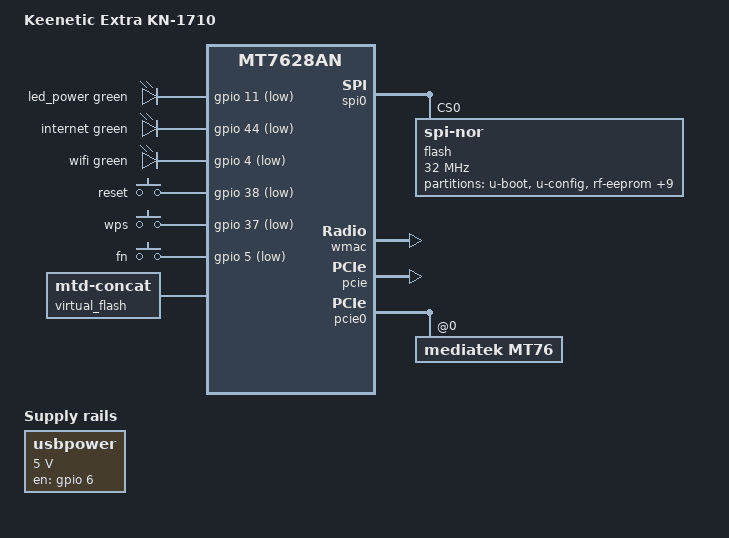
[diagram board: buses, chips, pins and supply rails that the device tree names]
// SPDX-License-Identifier: GPL-2.0-or-later OR MIT
#include "mt7628an.dtsi"

#include <dt-bindings/gpio/gpio.h>
#include <dt-bindings/input/input.h>
#include <dt-bindings/leds/common.h>

/ {
	compatible = "keenetic,kn-1710", "mediatek,mt7628an-soc";
	model = "Keenetic Extra KN-1710";

	aliases {
		led-boot = &led_power;
		led-failsafe = &led_power;
		led-running = &led_power;
		led-upgrade = &led_power;
	};

	chosen {
		bootargs = "console=ttyS0,57600n8";
	};

	regulator-usb {
		compatible = "regulator-fixed";
		regulator-name = "usbpower";
		regulator-min-microvolt = <5000000>;
		regulator-max-microvolt = <5000000>;
		gpios = <&gpio 6 GPIO_ACTIVE_HIGH>;
		enable-active-high;
		regulator-always-on;
	};

	leds {
		compatible = "gpio-leds";

		led_power: power {
			function = LED_FUNCTION_POWER;
			color = <LED_COLOR_ID_GREEN>;
			gpios = <&gpio 11 GPIO_ACTIVE_LOW>;
		};

		internet {
			function = LED_FUNCTION_WAN;
			color = <LED_COLOR_ID_GREEN>;
			gpios = <&gpio 44 GPIO_ACTIVE_LOW>;
		};

		wifi {
			function = LED_FUNCTION_WLAN;
			color = <LED_COLOR_ID_GREEN>;
			gpios = <&gpio 4 GPIO_ACTIVE_LOW>;
		};
	};

	keys {
		compatible = "gpio-keys";

		reset {
			label = "reset";
			gpios = <&gpio 38 GPIO_ACTIVE_LOW>;
			linux,code = <KEY_RESTART>;
		};

		wps {
			label = "wps";
			gpios = <&gpio 37 GPIO_ACTIVE_LOW>;
			linux,code = <KEY_WPS_BUTTON>;
		};

		fn {
			label = "fn";
			gpios = <&gpio 5 GPIO_ACTIVE_LOW>;
			linux,code = <BTN_0>;
		};
	};

	virtual_flash {
		compatible = "mtd-concat";
		devices = <&firmware1 &firmware2>;

		partitions {
			compatible = "fixed-partitions";
			#address-cells = <1>;
			#size-cells = <1>;

			partition@0 {
				compatible = "denx,uimage";
				label = "firmware";
				reg = <0x0 0x1d20000>;
			};
		};
	};
};

&spi0 {
	status = "okay";

	flash@0 {
		compatible = "jedec,spi-nor";
		#address-cells = <1>;
		#size-cells = <1>;
		reg = <0>;
		spi-max-frequency = <32000000>;

		partitions {
			compatible = "fixed-partitions";
			#address-cells = <1>;
			#size-cells = <1>;

			partition@0 {
				label = "u-boot";
				reg = <0x0 0x30000>;
				read-only;
			};

			partition@30000 {
				label = "u-config";
				reg = <0x30000 0x10000>;
				read-only;
			};

			partition@40000 {
				label = "rf-eeprom";
				reg = <0x40000 0x10000>;
				read-only;

				nvmem-layout {
					compatible = "fixed-layout";
					#address-cells = <1>;
					#size-cells = <1>;
					
					macaddr_lan: rf_eeprom@4 {
						reg = <0x4 0x6>;
					};

					macaddr_wan: rf_eeprom@28 {
						reg = <0x28 0x6>;
					};

					macaddr_wlan5: rf_eeprom@8004 {
						reg = <0x8004 0x6>;
					};
				};
			};

			firmware1: partition@50000 {
				label = "firmware_1";
				reg = <0x50000 0xe90000>;
			};

			partition@ee0000 {
				label = "config_1";
				reg = <0xee0000 0x10000>;
				read-only;
			};

			partition@ef0000 {
				label = "storage";
				reg = <0xef0000 0x100000>;
				read-only;
			};

			partition@ff0000 {
				label = "dump";
				reg = <0xff0000 0x10000>;
				read-only;
			};

			partition@1000000 {
				label = "u-state";
				reg = <0x1000000 0x30000>;
				read-only;
			};

			partition@1030000 {
				label = "u-config_res";
				reg = <0x1030000 0x10000>;
				read-only;
			};

			partition@1040000 {
				label = "rf-eeprom_res";
				reg = <0x1040000 0x10000>;
				read-only;
			};

			firmware2: partition@1050000 {
				label = "firmware_2";
				reg = <0x1050000 0xe90000>;
			};

			partition@1ee0000 {
				label = "config_2";
				reg = <0x1ee0000 0x10000>;
				read-only;
			};
		};
	};
};

&ethernet {
	nvmem-cells = <&macaddr_lan>;
	nvmem-cell-names = "mac-address";
};

&esw {
	mediatek,portmap = <0x3e>;
};

&wmac {
	status = "okay";
	nvmem-cells = <&macaddr_lan>;
	nvmem-cell-names = "mac-address";
};

&pcie {
	status = "okay";
};

&pcie0 {
	mt76@0,0 {
		compatible = "mediatek,mt76";
		reg = <0x0000 0 0 0 0>;
		nvmem-cells = <&macaddr_wlan5>;
		nvmem-cell-names = "mac-address";
		ieee80211-freq-limit = <5000000 6000000>;
		
		/* Need add FN led, connected to MT7612EN GPIO0 (pin #2) */
	};
};

&state_default {
	gpio {
		groups = "i2c", "spi cs1", "gpio", "refclk", "wdt", "wled_an";
		function = "gpio";
	};
};
